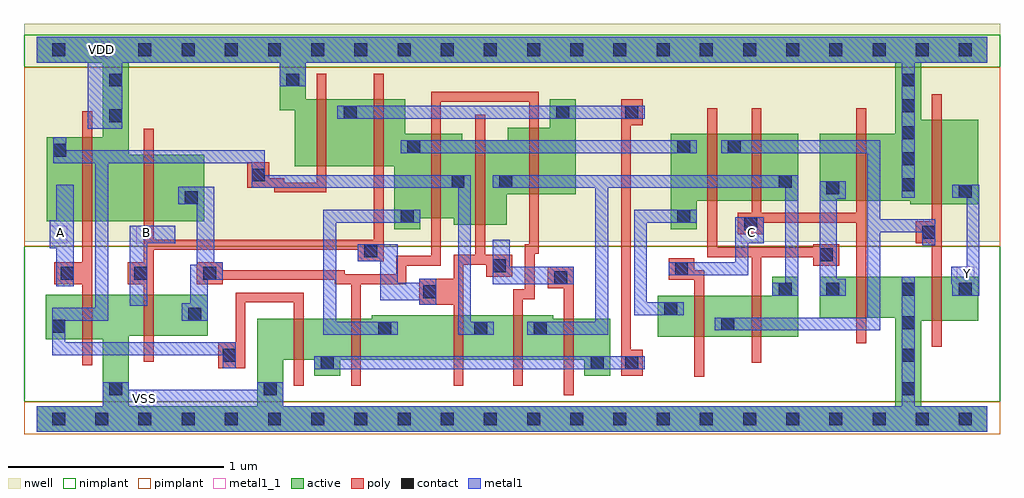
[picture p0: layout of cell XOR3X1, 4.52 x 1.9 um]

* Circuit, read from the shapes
.subckt XOR3X1 A B C VDD VSS Y
M1 VSS A n1 VSS nfet w=0.205u l=0.045u
M2 n2 B VSS VSS nfet w=0.19u l=0.045u
M3 n3 n1 VSS VSS nfet w=0.19u l=0.045u
M4 n4 n2 n3 VSS nfet w=0.19u l=0.045u
M5 n1 B n4 VSS nfet w=0.205u l=0.045u
M6 n5 n2 n1 VSS nfet w=0.205u l=0.045u
M7 n3 B n5 VSS nfet w=0.19u l=0.045u
M8 n6 C n4 VSS nfet w=0.19u l=0.045u
M9 n5 n7 n6 VSS nfet w=0.19u l=0.045u
M10 VSS C n7 VSS nfet w=0.19u l=0.045u
M11 Y n6 VSS VSS nfet w=0.205u l=0.045u
M12 VDD A n1 VDD pfet w=0.39u l=0.045u
M13 n2 B VDD VDD pfet w=0.31u l=0.045u
M14 n3 n1 VDD VDD pfet w=0.31u l=0.045u
M15 n4 B n3 VDD pfet w=0.31u l=0.045u
M16 n1 n2 n4 VDD pfet w=0.39u l=0.045u
M17 n5 B n1 VDD pfet w=0.39u l=0.045u
M18 n3 n2 n5 VDD pfet w=0.31u l=0.045u
M19 n6 n7 n4 VDD pfet w=0.31u l=0.045u
M20 n5 C n6 VDD pfet w=0.31u l=0.045u
M21 VDD C n7 VDD pfet w=0.31u l=0.045u
M22 Y n6 VDD VDD pfet w=0.39u l=0.045u
.ends

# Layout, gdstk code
import gdstk
lib = gdstk.Library(unit=1e-6, precision=5e-10)
def R(c, l, rs):  # rectangles x0, y0, x1, y1
    for r in rs: c.add(gdstk.rectangle(r[:2], r[2:], *l))
def A(c, l, x, y, w, h, nx, ny, dx, dy):  # array of equal rectangles
    R(c, l, [(x+i*dx, y+j*dy, x+i*dx+w, y+j*dy+h) for i in range(nx) for j in range(ny)])
def P(c, l, *ps):  # polygons
    for p in ps: c.add(gdstk.Polygon(p, *l))
active = (1, 0)
nwell = (2, 0)
poly = (3, 0)
nimplant = (4, 0)
pimplant = (5, 0)
contact = (6, 0)
metal1 = (7, 0)
metal1_1 = (7, 1)

xor3x1 = lib.new_cell('XOR3X1')
P(xor3x1, active, [(2.935,1.32),(3.525,1.32),(3.525,1.01),(3.055,1.01),(3.055,0.88),(2.935,0.88)],
  [(0,1.77),(4.4,1.77),(4.4,1.65),(4.095,1.65),(4.095,1.385),(4.36,1.385),(4.36,0.995),(4.045,0.995),(4.045,1.01),(3.625,1.01),(3.625,1.32),(3.975,1.32),(3.975,1.65),(1.245,1.65),(1.245,1.48),(1.705,1.48),(1.705,1.32),(1.97,1.32),(1.97,1.29),(2.18,1.29),(2.18,1.35),(2.375,1.35),(2.375,1.48),(2.495,1.48),(2.495,1.04),(2.175,1.04),(2.175,0.9),(1.93,0.9),(1.93,0.93),(1.775,0.93),(1.775,0.88),(1.655,0.88),(1.655,1.17),(1.195,1.17),(1.195,1.43),(1.125,1.43),(1.125,1.65),(0.425,1.65),(0.425,1.225),(0.775,1.225),(0.775,0.915),(0.045,0.915),(0.045,1.305),(0.305,1.305),(0.305,1.65),(0,1.65)],
  [(0.04,0.575),(0.79,0.575),(0.79,0.385),(0.425,0.385),(0.425,0.06),(1.02,0.06),(1.02,0.465),(1.55,0.465),(1.55,0.48),(2.39,0.48),(2.39,0.465),(2.655,0.465),(2.655,0.2),(2.535,0.2),(2.535,0.275),(1.405,0.275),(1.405,0.2),(1.285,0.2),(1.285,0.275),(1.14,0.275),(1.14,0.06),(3.975,0.06),(3.975,0.47),(3.625,0.47),(3.625,0.66),(4.36,0.66),(4.36,0.455),(4.095,0.455),(4.095,0.06),(4.4,0.06),(4.4,-0.06),(0,-0.06),(0,0.06),(0.305,0.06),(0.305,0.37),(0.04,0.37)],
  [(3.405,0.66),(3.525,0.66),(3.525,0.38),(2.875,0.38),(2.875,0.57),(3.405,0.57)])
R(xor3x1, nwell, [(-0.06,0.82,4.46,1.83)])
P(xor3x1, poly, [(0.21,1.425),(0.255,1.425),(0.255,0.25),(0.21,0.25),(0.21,0.625),(0.08,0.625),(0.08,0.725),(0.21,0.725)],
  [(2.03,1.41),(2.075,1.41),(2.075,0.76),(2.2,0.76),(2.2,0.66),(2.08,0.66),(2.08,0.715),(1.975,0.715),(1.975,0.155),(1.93,0.155),(1.93,0.53),(1.77,0.53),(1.77,0.65),(1.93,0.65),(1.93,0.76),(2.03,0.76)],
  [(0.495,1.345),(0.54,1.345),(0.54,0.83),(1.56,0.83),(1.56,1.6),(1.605,1.6),(1.605,0.73),(1.485,0.73),(1.485,0.785),(0.54,0.785),(0.54,0.265),(0.495,0.265),(0.495,0.625),(0.42,0.625),(0.42,0.725),(0.495,0.725)],
  [(0.975,1.19),(1.075,1.19),(1.075,1.115),(1.145,1.115),(1.145,1.095),(1.295,1.095),(1.295,1.6),(1.34,1.6),(1.34,1.05),(1.1,1.05),(1.1,1.07),(0.975,1.07)],
  [(1.825,1.515),(2.325,1.515),(2.325,0.765),(2.305,0.765),(2.305,0.555),(2.25,0.555),(2.25,0.155),(2.205,0.155),(2.205,0.6),(2.26,0.6),(2.26,0.81),(2.28,0.81),(2.28,1.47),(1.87,1.47),(1.87,0.71),(1.71,0.71),(1.71,0.625),(1.5,0.625),(1.5,0.155),(1.455,0.155),(1.455,0.625),(1.38,0.625),(1.38,0.645),(0.86,0.645),(0.86,0.625),(0.74,0.625),(0.74,0.725),(0.86,0.725),(0.86,0.69),(1.425,0.69),(1.425,0.67),(1.665,0.67),(1.665,0.755),(1.825,0.755)],
  [(3.105,1.44),(3.15,1.44),(3.15,0.795),(3.595,0.795),(3.595,0.81),(3.715,0.81),(3.715,0.71),(3.595,0.71),(3.595,0.75),(3.355,0.75),(3.355,0.26),(3.31,0.26),(3.31,0.75),(3.105,0.75)],
  [(2.705,1.48),(2.805,1.48),(2.805,1.36),(2.75,1.36),(2.75,0.32),(2.805,0.32),(2.805,0.2),(2.705,0.2)],
  [(3.31,1.44),(3.355,1.44),(3.355,0.955),(3.795,0.955),(3.795,1.44),(3.84,1.44),(3.84,0.35),(3.795,0.35),(3.795,0.91),(3.365,0.91),(3.365,0.855),(3.245,0.855),(3.245,0.955),(3.31,0.955)],
  [(4.145,1.505),(4.19,1.505),(4.19,0.335),(4.145,0.335),(4.145,0.815),(4.07,0.815),(4.07,0.915),(4.145,0.915)],
  [(0.92,0.585),(1.235,0.585),(1.235,0.155),(1.19,0.155),(1.19,0.54),(0.965,0.54),(0.965,0.235),(0.84,0.235),(0.84,0.355),(0.92,0.355)],
  [(2.365,0.705),(2.485,0.705),(2.485,0.11),(2.44,0.11),(2.44,0.605),(2.365,0.605)],
  [(2.925,0.745),(3.045,0.745),(3.045,0.69),(3.09,0.69),(3.09,0.195),(3.045,0.195),(3.045,0.645),(2.925,0.645)])
R(xor3x1, nimplant, [(-0.06,0.08,4.46,0.8), (-0.06,1.63,4.46,1.78)])
R(xor3x1, pimplant, [(-0.06,-0.07,4.46,0.08), (-0.06,0.8,4.46,1.63)])
A(xor3x1, contact, 0.07, -0.03, 0.06, 0.06, 22, 2, 0.2, 1.71)
A(xor3x1, contact, 4.005, 1.055, 0.06, 0.06, 1, 3, 0, 0.12)
R(xor3x1, contact, [(0.335,0.11,0.395,0.17), (1.05,0.11,1.11,0.17), (4.005,0.11,4.065,0.17), (1.315,0.23,1.375,0.29), (2.565,0.23,2.625,0.29), (2.725,0.23,2.785,0.29), (0.86,0.265,0.92,0.325), (4.005,0.265,4.065,0.325), (1.58,0.39,1.64,0.45), (2.025,0.39,2.085,0.45), (2.3,0.39,2.36,0.45), (0.07,0.4,0.13,0.46), (3.17,0.41,3.23,0.47), (4.005,0.415,4.065,0.475), (0.7,0.455,0.76,0.515), (2.905,0.48,2.965,0.54), (1.79,0.56,1.85,0.62), (3.435,0.57,3.495,0.63), (3.655,0.57,3.715,0.63), (4.005,0.57,4.065,0.63), (4.27,0.57,4.33,0.63), (2.395,0.625,2.455,0.685), (0.11,0.645,0.17,0.705), (0.45,0.645,0.51,0.705), (0.77,0.645,0.83,0.705), (2.955,0.665,3.015,0.725), (2.11,0.68,2.17,0.74), (3.625,0.73,3.685,0.79), (1.515,0.75,1.575,0.81), (4.1,0.835,4.16,0.895), (3.275,0.875,3.335,0.935), (1.685,0.91,1.745,0.97), (2.965,0.91,3.025,0.97), (0.685,0.995,0.745,1.055), (4.27,1.025,4.33,1.085), (3.655,1.04,3.715,1.1), (1.92,1.07,1.98,1.13), (2.14,1.07,2.2,1.13), (3.435,1.07,3.495,1.13), (0.995,1.1,1.055,1.16), (0.075,1.215,0.135,1.275), (1.715,1.23,1.775,1.29), (2.965,1.23,3.025,1.29), (3.2,1.23,3.26,1.29), (0.335,1.375,0.395,1.435), (1.42,1.39,1.48,1.45), (2.405,1.39,2.465,1.45), (2.725,1.39,2.785,1.45), (4.005,1.42,4.065,1.48), (0.335,1.54,0.395,1.6), (1.155,1.54,1.215,1.6), (4.005,1.54,4.065,1.6)])
R(xor3x1, metal1, [(1.285,0.23,2.815,0.29), (1.685,1.23,3.055,1.29), (1.39,1.39,2.815,1.45)])
P(xor3x1, metal1, [(0,1.77),(4.4,1.77),(4.4,1.65),(4.065,1.65),(4.065,1.025),(4.005,1.025),(4.005,1.65),(1.245,1.65),(1.245,1.54),(1.125,1.54),(1.125,1.65),(0.395,1.65),(0.395,1.345),(0.235,1.345),(0.235,1.65),(0,1.65)],
  [(0.075,1.305),(0.135,1.305),(0.135,1.245),(1.055,1.245),(1.055,1.13),(2.01,1.13),(2.01,0.45),(2.115,0.45),(2.115,0.39),(1.95,0.39),(1.95,1.07),(0.995,1.07),(0.995,1.185),(0.33,1.185),(0.33,0.455),(0.13,0.455),(0.13,0.355),(0.92,0.355),(0.92,0.235),(0.86,0.235),(0.86,0.295),(0.07,0.295),(0.07,0.515),(0.27,0.515),(0.27,1.185),(0.075,1.185)],
  [(3.17,1.29),(3.905,1.29),(3.905,0.925),(4.16,0.925),(4.16,0.805),(4.1,0.805),(4.1,0.865),(3.905,0.865),(3.905,0.41),(3.14,0.41),(3.14,0.47),(3.845,0.47),(3.845,1.23),(3.17,1.23)],
  [(0.655,1.075),(0.82,1.075),(0.82,0.725),(0.86,0.725),(0.86,0.645),(0.79,0.645),(0.79,0.455),(0.67,0.455),(0.67,0.535),(0.71,0.535),(0.71,0.715),(0.74,0.715),(0.74,0.995),(0.655,0.995)],
  [(0.09,1.085),(0.17,1.085),(0.17,0.615),(0.09,0.615),(0.09,0.79),(0.06,0.79),(0.06,0.92),(0.09,0.92)],
  [(0.43,0.895),(0.64,0.895),(0.64,0.815),(0.51,0.815),(0.51,0.525),(0.43,0.525)],
  [(3.625,1.1),(3.745,1.1),(3.745,1.02),(3.705,1.02),(3.705,0.65),(3.745,0.65),(3.745,0.57),(3.625,0.57)],
  [(2.11,1.13),(3.525,1.13),(3.525,0.57),(3.405,0.57),(3.405,0.63),(3.465,0.63),(3.465,1.07),(2.645,1.07),(2.645,0.39),(2.27,0.39),(2.27,0.45),(2.585,0.45),(2.585,1.07),(2.11,1.07)],
  [(1.325,0.97),(1.775,0.97),(1.775,0.91),(1.385,0.91),(1.385,0.45),(1.67,0.45),(1.67,0.39),(1.325,0.39)],
  [(1.485,0.81),(1.67,0.81),(1.67,0.63),(1.77,0.63),(1.77,0.65),(1.85,0.65),(1.85,0.53),(1.77,0.53),(1.77,0.55),(1.59,0.55),(1.59,0.73),(1.485,0.73)],
  [(2.11,0.83),(2.19,0.83),(2.19,0.705),(2.485,0.705),(2.485,0.625),(2.11,0.625)],
  [(2.765,0.97),(3.055,0.97),(3.055,0.91),(2.825,0.91),(2.825,0.54),(2.995,0.54),(2.995,0.48),(2.765,0.48)],
  [(3.235,0.935),(3.365,0.935),(3.365,0.815),(3.295,0.815),(3.295,0.665),(2.925,0.665),(2.925,0.725),(3.235,0.725)],
  [(4.24,1.085),(4.365,1.085),(4.365,0.57),(4.24,0.57),(4.24,0.625),(4.235,0.625),(4.235,0.705),(4.305,0.705),(4.305,1.025),(4.24,1.025)],
  [(0.305,0.17),(0.425,0.17),(0.425,0.135),(1.02,0.135),(1.02,0.17),(1.14,0.17),(1.14,0.06),(4.005,0.06),(4.005,0.66),(4.065,0.66),(4.065,0.06),(4.4,0.06),(4.4,-0.06),(0,-0.06),(0,0.06),(0.305,0.06)])
R(xor3x1, metal1_1, [(0.46,0.055,0.54,0.135), (4.26,0.625,4.34,0.705), (0.06,0.815,0.14,0.895), (0.46,0.815,0.54,0.895), (3.26,0.815,3.34,0.895), (0.26,1.67,0.34,1.75)])
xor3x1.add(gdstk.Label('VDD', (0.3,1.71), layer=7, texttype=0))
xor3x1.add(gdstk.Label('VSS', (0.5,0.095), layer=7, texttype=0))
xor3x1.add(gdstk.Label('A', (0.108,0.863), layer=7, texttype=0))
xor3x1.add(gdstk.Label('B', (0.508,0.863), layer=7, texttype=0))
xor3x1.add(gdstk.Label('C', (3.308,0.863), layer=7, texttype=0))
xor3x1.add(gdstk.Label('Y', (4.308,0.673), layer=7, texttype=0))

lib.write_gds('XOR3X1.gds')
